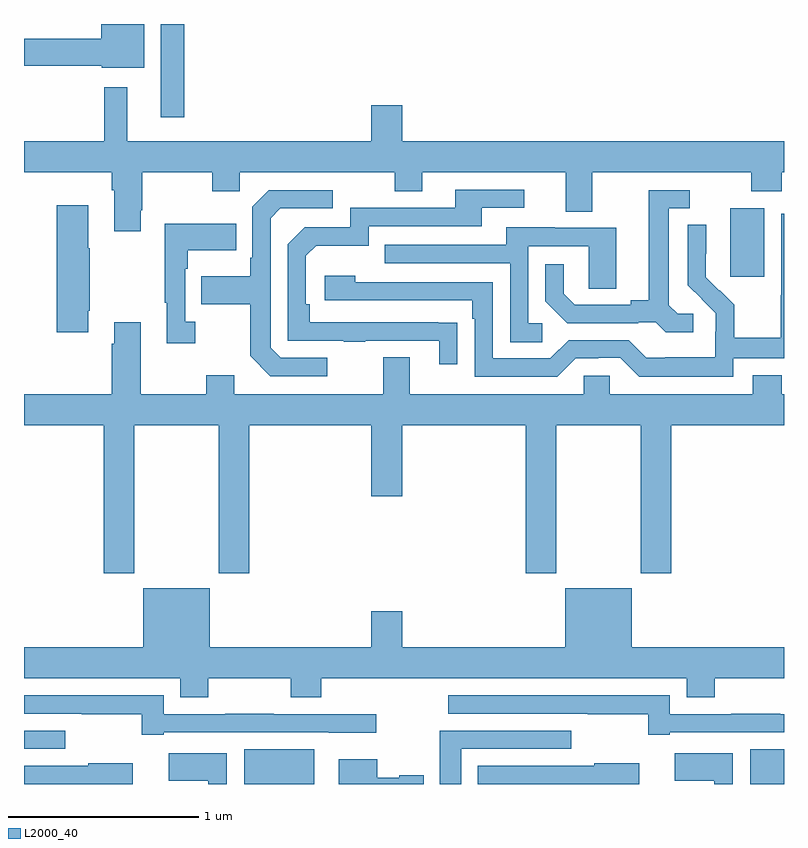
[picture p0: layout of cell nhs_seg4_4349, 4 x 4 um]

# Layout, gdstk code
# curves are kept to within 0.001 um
import gdstk
lib = gdstk.Library(unit=1e-6, precision=1e-09)
def R(c, l, rs):  # rectangles x0, y0, x1, y1
    for r in rs: c.add(gdstk.rectangle(r[:2], r[2:], *l))
def P(c, l, *ps):  # polygons
    for p in ps: c.add(gdstk.Polygon(p, *l))
L2000_40 = (2000, 40)

nhs_seg4_4349 = lib.new_cell('nhs_seg4_4349')
R(nhs_seg4_4349, L2000_40, [(344.159,826.9,344.527,827.083), (346.823,826.9,347,827.083), (343,827.085,343.216,827.181), (346.718,829.569,346.897,829.93), (343.721,830.409,343.843,830.9)])
P(nhs_seg4_4349, L2000_40, [(343.633,830.9),(343.406,830.9),(343.406,830.822),(343,830.822),(343,830.68),(343.41,830.68),(343.41,830.669),(343.633,830.669)],
  [(343.615,829.921),(343.623,829.921),(343.623,830.12),(343.99,830.12),(343.99,830.021),(344.136,830.021),(344.136,830.12),(344.95,830.12),(344.95,830.021),(345.097,830.021),(345.097,830.12),(345.851,830.12),(345.851,829.912),(345.991,829.912),(345.991,830.12),(346.828,830.12),(346.828,830.021),(346.988,830.021),(346.988,830.12),(347,830.12),(347,830.284),(344.992,830.284),(344.992,830.473),(344.828,830.473),(344.828,830.284),(343.543,830.284),(343.543,830.566),(343.422,830.566),(343.422,830.284),(343,830.284),(343,830.12),(343.463,830.12),(343.463,830.024),(343.475,830.024),(343.475,829.809),(343.615,829.809)],
  [(345.281,829.328),(344.504,829.329),(344.504,829.426),(344.484,829.426),(344.484,829.68),(344.537,829.733),(344.814,829.733),(344.814,829.836),(345.409,829.836),(345.409,829.932),(345.634,829.932),(345.634,830.028),(345.269,830.028),(345.269,829.932),(344.718,829.932),(344.718,829.83),(344.478,829.83),(344.388,829.74),(344.388,829.233),(344.683,829.233),(344.683,829.228),(344.795,829.228),(344.795,829.233),(345.185,829.233),(345.185,829.11),(345.281,829.11)],
  [(346.522,829.374),(346.44,829.374),(346.393,829.421),(346.393,829.929),(346.504,829.929),(346.504,830.025),(346.289,830.025),(346.289,829.445),(346.193,829.445),(346.193,829.422),(345.898,829.422),(345.841,829.479),(345.841,829.636),(345.744,829.636),(345.744,829.442),(345.86,829.326),(346.232,829.326),(346.232,829.329),(346.326,829.329),(346.378,829.277),(346.522,829.277)],
  [(344.596,829.143),(344.352,829.143),(344.298,829.197),(344.298,829.878),(344.349,829.929),(344.626,829.929),(344.626,830.025),(344.289,830.025),(344.202,829.938),(344.202,829.669),(344.19,829.669),(344.19,829.573),(343.933,829.573),(343.933,829.426),(344.19,829.426),(344.19,829.153),(344.295,829.047),(344.596,829.047)],
  [(343.339,829.39),(343.347,829.39),(343.347,829.721),(343.339,829.721),(343.339,829.945),(343.172,829.945),(343.172,829.278),(343.339,829.278)],
  [(346.734,829.14),(347,829.14),(347,829.902),(346.986,829.902),(346.986,829.472),(346.984,829.472),(346.984,829.249),(346.739,829.249),(346.739,829.423),(346.662,829.5),(346.659,829.497),(346.589,829.568),(346.59,829.844),(346.494,829.844),(346.494,829.526),(346.64,829.378),(346.64,829.281),(346.638,829.281),(346.638,829.147),(346.375,829.147),(346.375,829.143),(346.275,829.143),(346.182,829.236),(345.867,829.236),(345.771,829.14),(345.468,829.14),(345.468,829.542),(344.744,829.542),(344.744,829.576),(344.583,829.576),(344.583,829.446),(345.359,829.446),(345.359,829.349),(345.372,829.349),(345.372,829.044),(345.807,829.044),(345.903,829.14),(346.022,829.14),(346.022,829.143),(346.137,829.143),(346.237,829.043),(346.734,829.043)],
  [(343.9,829.334),(343.848,829.334),(343.848,829.613),(343.861,829.613),(343.861,829.709),(344.117,829.709),(344.117,829.849),(343.74,829.849),(343.74,829.433),(343.751,829.433),(343.751,829.221),(343.9,829.221)],
  [(345.727,829.326),(345.654,829.326),(345.654,829.731),(345.972,829.731),(345.972,829.507),(346.117,829.507),(346.117,829.827),(345.793,829.827),(345.793,829.831),(345.539,829.831),(345.539,829.737),(344.899,829.737),(344.899,829.641),(345.558,829.641),(345.558,829.225),(345.727,829.225)],
  [(343.581,828.788),(344.026,828.788),(344.026,828.009),(344.186,828.009),(344.186,828.788),(344.828,828.788),(344.828,828.414),(344.992,828.414),(344.992,828.788),(345.641,828.788),(345.641,828.009),(345.801,828.009),(345.801,828.788),(346.246,828.788),(346.246,828.009),(346.406,828.009),(346.406,828.788),(347,828.788),(347,828.952),(346.988,828.952),(346.988,829.051),(346.835,829.051),(346.835,828.952),(346.083,828.952),(346.083,829.05),(345.945,829.05),(345.945,828.952),(345.031,828.952),(345.031,829.147),(344.891,829.147),(344.891,828.952),(344.107,828.952),(344.107,829.051),(343.96,829.051),(343.96,828.952),(343.615,828.952),(343.615,829.33),(343.475,829.33),(343.475,829.217),(343.463,829.217),(343.463,828.952),(343,828.952),(343,828.788),(343.421,828.788),(343.421,828.009),(343.581,828.009)],
  [(343.971,827.456),(344.404,827.456),(344.404,827.357),(344.564,827.357),(344.564,827.456),(346.487,827.456),(346.487,827.357),(346.635,827.357),(346.635,827.456),(347,827.456),(347,827.62),(346.198,827.62),(346.198,827.929),(345.848,827.929),(345.848,827.62),(344.992,827.62),(344.992,827.809),(344.828,827.809),(344.828,827.62),(343.978,827.62),(343.978,827.929),(343.628,827.929),(343.628,827.62),(343,827.62),(343,827.456),(343.823,827.456),(343.823,827.357),(343.971,827.357)],
  [(346.399,827.172),(347,827.172),(347,827.268),(346.979,827.268),(346.979,827.27),(346.723,827.27),(346.723,827.268),(346.399,827.268),(346.399,827.367),(345.234,827.367),(345.234,827.271),(345.967,827.271),(345.967,827.266),(346.285,827.266),(346.285,827.16),(346.399,827.16)],
  [(343.735,827.172),(344.605,827.172),(344.605,827.171),(344.854,827.171),(344.854,827.268),(344.315,827.268),(344.315,827.27),(344.059,827.27),(344.059,827.268),(343.735,827.268),(343.735,827.367),(343,827.367),(343,827.271),(343.303,827.271),(343.303,827.266),(343.621,827.266),(343.621,827.16),(343.735,827.16)],
  [(345.301,827.085),(345.88,827.085),(345.88,827.181),(345.188,827.181),(345.188,826.9),(345.301,826.9)],
  [(344.067,827.062),(343.761,827.062),(343.761,826.916),(343.97,826.916),(343.97,826.9),(344.067,826.9)],
  [(346.731,827.062),(346.425,827.062),(346.425,826.916),(346.634,826.916),(346.634,826.9),(346.731,826.9)],
  [(345.103,826.946),(344.976,826.946),(344.976,826.933),(344.86,826.933),(344.86,827.029),(344.657,827.029),(344.657,826.9),(345.103,826.9)],
  [(343.573,827.008),(343.337,827.008),(343.337,826.995),(343,826.995),(343,826.9),(343.573,826.9)],
  [(346.237,827.008),(346.001,827.008),(346.001,826.995),(345.389,826.995),(345.389,826.9),(346.237,826.9)])

lib.write_gds('nhs_seg4_4349.gds')
